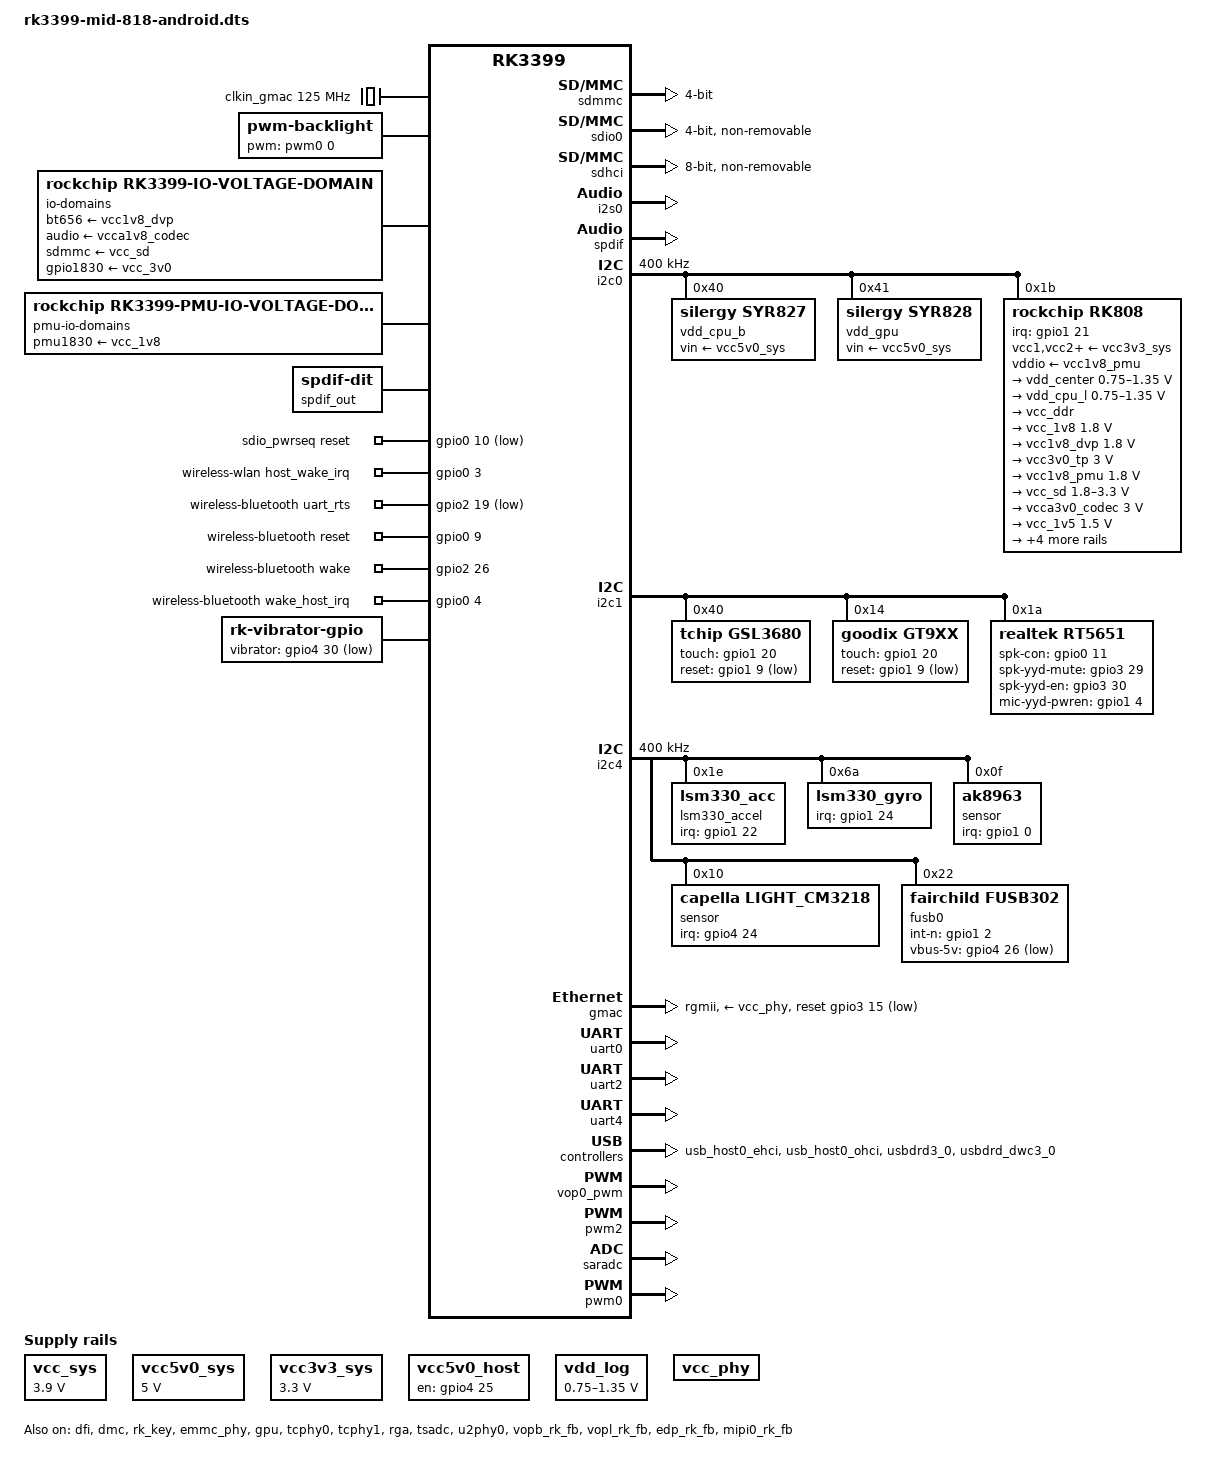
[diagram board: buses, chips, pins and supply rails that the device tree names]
/*
 * Copyright (c) 2016 Fuzhou Rockchip Electronics Co., Ltd
 *
 * This file is dual-licensed: you can use it either under the terms
 * of the GPL or the X11 license, at your option. Note that this dual
 * licensing only applies to this file, and not this project as a
 * whole.
 *
 *  a) This file is free software; you can redistribute it and/or
 *     modify it under the terms of the GNU General Public License as
 *     published by the Free Software Foundation; either version 2 of the
 *     License, or (at your option) any later version.
 *
 *     This file is distributed in the hope that it will be useful,
 *     but WITHOUT ANY WARRANTY; without even the implied warranty of
 *     MERCHANTABILITY or FITNESS FOR A PARTICULAR PURPOSE.  See the
 *     GNU General Public License for more details.
 *
 * Or, alternatively,
 *
 *  b) Permission is hereby granted, free of charge, to any person
 *     obtaining a copy of this software and associated documentation
 *     files (the "Software"), to deal in the Software without
 *     restriction, including without limitation the rights to use,
 *     copy, modify, merge, publish, distribute, sublicense, and/or
 *     sell copies of the Software, and to permit persons to whom the
 *     Software is furnished to do so, subject to the following
 *     conditions:
 *
 *     The above copyright notice and this permission notice shall be
 *     included in all copies or substantial portions of the Software.
 *
 *     THE SOFTWARE IS PROVIDED "AS IS", WITHOUT WARRANTY OF ANY KIND,
 *     EXPRESS OR IMPLIED, INCLUDING BUT NOT LIMITED TO THE WARRANTIES
 *     OF MERCHANTABILITY, FITNESS FOR A PARTICULAR PURPOSE AND
 *     NONINFRINGEMENT. IN NO EVENT SHALL THE AUTHORS OR COPYRIGHT
 *     HOLDERS BE LIABLE FOR ANY CLAIM, DAMAGES OR OTHER LIABILITY,
 *     WHETHER IN AN ACTION OF CONTRACT, TORT OR OTHERWISE, ARISING
 *     FROM, OUT OF OR IN CONNECTION WITH THE SOFTWARE OR THE USE OR
 *     OTHER DEALINGS IN THE SOFTWARE.
 */

/dts-v1/;

#include "rk3399.dtsi"
#include "rk3399-android.dtsi"
#include <dt-bindings/sensor-dev.h>
#include <dt-bindings/pwm/pwm.h>

/ {
	compatible = "rockchip,rk3399-mid", "rockchip,rk3399";

	hall_sensor: hall-mh248 {
		compatible = "hall-mh248";
		pinctrl-names = "default";
		pinctrl-0 = <&mh248_irq_gpio>;
		irq-gpio = <&gpio1 2 IRQ_TYPE_EDGE_BOTH>;
		hall-active = <1>;
		status = "disabled";
	};

	vcc_sys: vcc-sys {
		compatible = "regulator-fixed";
		regulator-name = "vcc_sys";
		regulator-always-on;
		regulator-boot-on;
		regulator-min-microvolt = <3900000>;
		regulator-max-microvolt = <3900000>;
	};

	vcc5v0_sys: vcc5v0-sys {
		compatible = "regulator-fixed";
		regulator-name = "vcc5v0_sys";
		regulator-always-on;
		regulator-boot-on;
		regulator-min-microvolt = <5000000>;
		regulator-max-microvolt = <5000000>;
	};
	
	vcc3v3_sys: vcc3v3-sys {
		compatible = "regulator-fixed";
		regulator-name = "vcc3v3_sys";
		regulator-always-on;
		regulator-boot-on;
		regulator-min-microvolt = <3300000>;
		regulator-max-microvolt = <3300000>;
	};

	vcc5v0_host: vcc5v0-host-regulator {
		compatible = "regulator-fixed";
		enable-active-high;
		gpio = <&gpio4 25 GPIO_ACTIVE_HIGH>;
		pinctrl-names = "default";
		pinctrl-0 = <&host_vbus_drv>;
		regulator-name = "vcc5v0_host";
	};

	vdd_log: vdd-log {
		compatible = "pwm-regulator";
		pwms = <&pwm2 0 25000 0>;
		rockchip,pwm_id= <2>;
		rockchip,pwm_voltage = <900000>;
		regulator-name = "vdd_log";
		regulator-min-microvolt = <750000>;
		regulator-max-microvolt = <1350000>;
		regulator-always-on;
		regulator-boot-on;
	};

	clkin_gmac: external-gmac-clock {
		compatible = "fixed-clock";
		clock-frequency = <125000000>;
		clock-output-names = "clkin_gmac";
		#clock-cells = <0>;
	};
	
	backlight: backlight {
		status = "okay";
		compatible = "pwm-backlight";
		pwms = <&pwm0 0 25000 0>;
		brightness-levels = <
			0   1   51  52  52  53  53  54
			54  55  55  56  56  57  57  58
			58  59  59  60  61  61  62  63
			63  64  65  65  66  67  67  68
			69  69  70  71  71  72  73  73
			74  75  75  76  77  77  78  79
			79  80  80  81  81  82  83  83
			84  85  86  86  87  88  89  89
			90  91  92  92  93  94  95  95
			96  97  98  98  99 100 101  101
			102 103 104 104 105 106 107 107
			108 109 110 110 111 112 113 113
			114 115 116 116 117 118 119 119
			120 121 122 122 123 124 125 125
			126 127 128 128 129 130 131 131
			132 133 134 134 135 136 137 137
			138 139 140 140 141 142 143 143
			144 145 146 146 147 148 149 149
			150 151 152 152 153 154 155 155
			156 157 158 158 159 160 161 161
			162 163 164 164 165 166 167 167
			168 169 170 170 171 172 173 173
			174 175 176 176 177 178 179 179
			180 181 182 182 183 184 185 185
			186 187 188 188 189 190 191 191
			216 217 218 218 219 220 221 221
			222 223 224 224 225 226 227 227
			228 229 230 230 231 232 233 233
			234 235 236 236 237 238 239 239
			240 241 242 242 243 244 245 245
			246 247 248 248 249 250 251 251
			252 253 254 254 255 255 255 255>;
		default-brightness-level = <200>;
		/*enable-gpios = <&gpio1 13 GPIO_ACTIVE_HIGH>;*/
	};

	vcc_phy: vcc-phy-regulator {
		compatible = "regulator-fixed";
		regulator-name = "vcc_phy";
		regulator-always-on;
		regulator-boot-on;
	};

	io-domains {
		compatible = "rockchip,rk3399-io-voltage-domain";
		rockchip,grf = <&grf>;

		bt656-supply = <&vcc1v8_dvp>;
		audio-supply = <&vcca1v8_codec>;
		sdmmc-supply = <&vcc_sd>;
		gpio1830-supply = <&vcc_3v0>;
	};

	pmu-io-domains {
		compatible = "rockchip,rk3399-pmu-io-voltage-domain";
		rockchip,grf = <&pmugrf>;

		pmu1830-supply = <&vcc_1v8>;
	};

	rt5651-sound {
		status = "okay";
		compatible = "simple-audio-card";
		simple-audio-card,format = "i2s";
		simple-audio-card,name = "realtek,rt5651-codec";
		simple-audio-card,mclk-fs = <256>;
		simple-audio-card,widgets =
			"Microphone", "Mic Jack",
			"Headphone", "Headphone Jack";
		simple-audio-card,routing =
			"Mic Jack", "MICBIAS1",
			"IN1P", "Mic Jack",
			"Headphone Jack", "HPOL",
			"Headphone Jack", "HPOR";
		simple-audio-card,cpu {
			sound-dai = <&i2s0>;
		};
		simple-audio-card,codec {
			sound-dai = <&rt5651>;
		};
	};
	
	spdif-sound {
		compatible = "simple-audio-card";
		simple-audio-card,name = "rockchip,spdif";
		simple-audio-card,cpu {
			sound-dai = <&spdif>;
		};
		simple-audio-card,codec {
			sound-dai = <&spdif_out>;
		};
	};

	spdif_out: spdif-out {
		compatible = "linux,spdif-dit";
		#sound-dai-cells = <0>;
	};

	sdio_pwrseq: sdio-pwrseq {
		compatible = "mmc-pwrseq-simple";
		clocks = <&rk808 1>;
		clock-names = "ext_clock";
		pinctrl-names = "default";
		pinctrl-0 = <&wifi_enable_h>;

		/*
		 * On the module itself this is one of these (depending
		 * on the actual card populated):
		 * - SDIO_RESET_L_WL_REG_ON
		 * - PDN (power down when low)
		 */
		reset-gpios = <&gpio0 10 GPIO_ACTIVE_LOW>; /* GPIO0_B2 */
	};

	wireless-wlan {
		compatible = "wlan-platdata";
		rockchip,grf = <&grf>;
		wifi_chip_type = "ap6356";
		sdio_vref = <1800>;
		WIFI,host_wake_irq = <&gpio0 3 GPIO_ACTIVE_HIGH>; /* GPIO0_a3 */
		status = "okay";
	};

	wireless-bluetooth {
		compatible = "bluetooth-platdata";
		clocks = <&rk808 1>;
		clock-names = "ext_clock";
		//wifi-bt-power-toggle;
		uart_rts_gpios = <&gpio2 19 GPIO_ACTIVE_LOW>; /* GPIO2_C3 */
		pinctrl-names = "default", "rts_gpio";
		pinctrl-0 = <&uart0_rts>;
		pinctrl-1 = <&uart0_gpios>;
		//BT,power_gpio  = <&gpio3 19 GPIO_ACTIVE_HIGH>; /* GPIOx_xx */
		BT,reset_gpio    = <&gpio0 9 GPIO_ACTIVE_HIGH>; /* GPIO0_B1 */
		BT,wake_gpio     = <&gpio2 26 GPIO_ACTIVE_HIGH>; /* GPIO2_D2 */
		BT,wake_host_irq = <&gpio0 4 GPIO_ACTIVE_HIGH>; /* GPIO0_A4 */
		status = "okay";
	};

	uboot-charge {
		compatible = "rockchip,uboot-charge";
		rockchip,uboot-charge-on = <0>;
		rockchip,android-charge-on = <1>;
	};

	vibrator {
		compatible = "rk-vibrator-gpio";
		vibrator-gpio = <&gpio4 30 GPIO_ACTIVE_LOW>;
		status = "okay";
	};
};

&dfi {
	status = "okay";
};

&dmc {
	status = "okay";
	center-supply = <&vdd_center>;
	upthreshold = <38>;
	downdifferential = <20>;
};

&dmc_opp_table {
	opp@300000000 {
		opp-hz = /bits/ 64 <300000000>;
		opp-microvolt = <900000>;
	};
	opp@400000000 {
		opp-hz = /bits/ 64 <400000000>;
		opp-microvolt = <900000>;
	};
	opp@528000000 {
		opp-hz = /bits/ 64 <528000000>;
		opp-microvolt = <900000>;
	};
	opp@600000000 {
		opp-hz = /bits/ 64 <600000000>;
		opp-microvolt = <900000>;
	};
	opp@666000000 {
		opp-hz = /bits/ 64 <666000000>;
		opp-microvolt = <900000>;
		opp-suspend;
	};
};

&cluster0_opp {
	opp@408000000 {
		opp-hz = /bits/ 64 <408000000>;
		opp-microvolt = <800000>;
		clock-latency-ns = <40000>;
	};
	opp@600000000 {
		opp-hz = /bits/ 64 <600000000>;
		opp-microvolt = <800000>;
	};
	opp@816000000 {
		opp-hz = /bits/ 64 <816000000>;
		opp-microvolt = <800000>;
	};
	opp@1008000000 {
		opp-hz = /bits/ 64 <1008000000>;
		opp-microvolt = <875000>;
	};
	opp@1200000000 {
		opp-hz = /bits/ 64 <1200000000>;
		opp-microvolt = <925000>;
	};
	opp@1416000000 {
		opp-hz = /bits/ 64 <1416000000>;
		opp-microvolt = <1050000>;
	};
	opp@1512000000 {
		opp-hz = /bits/ 64 <1512000000>;
		opp-microvolt = <1100000>;
		status="disabled";
	};
};

&cluster1_opp {
	opp@408000000 {
		opp-hz = /bits/ 64 <408000000>;
		opp-microvolt = <800000>;
		clock-latency-ns = <40000>;
	};
	opp@600000000 {
		opp-hz = /bits/ 64 <600000000>;
		opp-microvolt = <800000>;
	};
	opp@816000000 {
		opp-hz = /bits/ 64 <816000000>;
		opp-microvolt = <825000>;
	};
	opp@1008000000 {
		opp-hz = /bits/ 64 <1008000000>;
		opp-microvolt = <875000>;
	};
	opp@1200000000 {
		opp-hz = /bits/ 64 <1200000000>;
		opp-microvolt = <950000>;
	};
	opp@1416000000 {
		opp-hz = /bits/ 64 <1416000000>;
		opp-microvolt = <1025000>;
	};
	opp@1608000000 {
		opp-hz = /bits/ 64 <1608000000>;
		opp-microvolt = <1100000>;
	};
	opp@1800000000 {
		opp-hz = /bits/ 64 <1800000000>;
		opp-microvolt = <1175000>;
	};
	opp@1992000000 {
		opp-hz = /bits/ 64 <1992000000>;
		opp-microvolt = <1250000>;
	};
};

&CPU_COST_A72 {
	busy-cost-data = <
		210   129	/*  408MHz */
		308   184	/*  600MHz */
		419   246	/*  816MHz */
		518   335	/* 1008MHz */
		617   428	/* 1200MHz */
		728   573	/* 1416MHz */
		827   724	/* 1608MHz */
		925   900	/* 1800MHz */
		1024  1108	/* 1992MHz */
	>;
	idle-cost-data = <
	      15
	      15
	       0
	>;
};

&CPU_COST_A53 {
	busy-cost-data = <
		108    46	/*  408M */
		159    67	/*  600M */
		216    90	/*  816M */
		267    120	/* 1008M */
		318    153	/* 1200M */
		375    198	/* 1416M */
		401    222	/* 1512M */
	>;
	idle-cost-data = <
	      6
	      6
	      0
	>;
};

&CLUSTER_COST_A72 {
	busy-cost-data = <
		210   129	/*  408MHz */
		308   184	/*  600MHz */
		419   246	/*  816MHz */
		518   335	/* 1008MHz */
		617   428	/* 1200MHz */
		728   573	/* 1416MHz */
		827   724	/* 1608MHz */
		925   900	/* 1800MHz */
		1024  1108	/* 1992MHz */
	>;
	idle-cost-data = <
		 65
		 65
		 65
	>;
};

&CLUSTER_COST_A53 {
	busy-cost-data = <
		108    46	/*  408M */
		159    67	/*  600M */
		216    90	/*  816M */
		267    120	/* 1008M */
		318    153	/* 1200M */
		375    198	/* 1416M */
		401    222	/* 1512M */
	>;
	idle-cost-data = <
		56
		56
		56
	>;
};

&gpu_opp_table {
	compatible = "operating-points-v2";
	opp-shared;
	opp@200000000 {
		opp-hz = /bits/ 64 <200000000>;
		opp-microvolt = <825000>;
	};
	opp@300000000 {
		opp-hz = /bits/ 64 <300000000>;
		opp-microvolt = <850000>;
	};
	opp@400000000 {
		opp-hz = /bits/ 64 <400000000>;
		opp-microvolt = <875000>;
	};
	opp@500000000 {
		opp-hz = /bits/ 64 <500000000>;
		opp-microvolt = <950000>;
	};
	opp@600000000 {
		opp-hz = /bits/ 64 <600000000>;
		opp-microvolt = <1025000>;
	};
	opp@800000000 {
		opp-hz = /bits/ 64 <800000000>;
		opp-microvolt = <1125000>;
	};
};

&rk_key {
	compatible = "rockchip,key";
	status = "okay";

	io-channels = <&saradc 1>;

		power-key {
			gpios = <&gpio0 5 GPIO_ACTIVE_LOW>;
			linux,code = <116>;
			label = "power";
			gpio-key,wakeup;
		};

		vol-up-key {
			linux,code = <115>;
			label = "volume up";
			rockchip,adc_value = <1>;
		};

		vol-down-key {
			linux,code = <114>;
			label = "volume down";
			rockchip,adc_value = <170>;
		};

		back-key {
			linux,code = <158>;
			label = "back";
			rockchip,adc_value = <560>;
		};

		menu-key {
			linux,code = <139>;
			label = "menu";
			rockchip,adc_value = <750>;
		};
};

&sdmmc {
	clock-frequency = <50000000>;
	clock-freq-min-max = <400000 150000000>;
	supports-sd;
	bus-width = <4>;
	cap-mmc-highspeed;
	cap-sd-highspeed;
	disable-wp;
	num-slots = <1>;
	sd-uhs-sdr104;
	vqmmc-supply = <&vcc_sd>;
	pinctrl-names = "default";
	pinctrl-0 = <&sdmmc_clk &sdmmc_cmd &sdmmc_cd &sdmmc_bus4>;
	status = "okay";
};

&sdio0 {
	clock-frequency = <150000000>;
	clock-freq-min-max = <200000 150000000>;
	supports-sdio;
	bus-width = <4>;
	disable-wp;
	cap-sd-highspeed;
	cap-sdio-irq;
	keep-power-in-suspend;
	mmc-pwrseq = <&sdio_pwrseq>;
	non-removable;
	num-slots = <1>;
	pinctrl-names = "default";
	pinctrl-0 = <&sdio0_bus4 &sdio0_cmd &sdio0_clk>;
	sd-uhs-sdr104;
	status = "okay";
};

&emmc_phy {
	status = "okay";
};

&sdhci {
	bus-width = <8>;
	mmc-hs400-1_8v;
	supports-emmc;
	non-removable;
	keep-power-in-suspend;
	mmc-hs400-enhanced-strobe;
	status = "okay";
};

&i2s0 {
	status = "okay";
	rockchip,i2s-broken-burst-len;
	rockchip,playback-channels = <8>;
	rockchip,capture-channels = <8>;
	#sound-dai-cells = <0>;
};

&i2s2 {
	#sound-dai-cells = <0>;
};

&spdif {
	status = "okay";
	#sound-dai-cells = <0>;
};

&i2c0 {
	status = "okay";
	i2c-scl-rising-time-ns = <168>;
	i2c-scl-falling-time-ns = <4>;
	clock-frequency = <400000>;

	vdd_cpu_b: syr827@40 {
		compatible = "silergy,syr827";
		reg = <0x40>;
		vin-supply = <&vcc5v0_sys>;
		regulator-compatible = "fan53555-reg";
		regulator-name = "vdd_cpu_b";
		regulator-min-microvolt = <712500>;
		regulator-max-microvolt = <1500000>;
		regulator-ramp-delay = <1000>;
		fcs,suspend-voltage-selector = <1>;
		regulator-always-on;
		regulator-boot-on;
		regulator-initial-state = <3>;
			regulator-state-mem {
			regulator-off-in-suspend;
		};
	};

	vdd_gpu: syr828@41 {
		compatible = "silergy,syr828";
		reg = <0x41>;
		vin-supply = <&vcc5v0_sys>;
		regulator-compatible = "fan53555-reg";
		regulator-name = "vdd_gpu";
		regulator-min-microvolt = <712500>;
		regulator-max-microvolt = <1500000>;
		regulator-ramp-delay = <1000>;
		fcs,suspend-voltage-selector = <1>;
		regulator-always-on;
		regulator-boot-on;
		regulator-initial-state = <3>;
			regulator-state-mem {
			regulator-off-in-suspend;
		};
	};

	rk808: pmic@1b {
		compatible = "rockchip,rk808";
		reg = <0x1b>;
		interrupt-parent = <&gpio1>;
		interrupts = <21 IRQ_TYPE_LEVEL_LOW>;
		pinctrl-names = "default";
		pinctrl-0 = <&pmic_int_l &pmic_dvs2>;
		rockchip,system-power-controller;
		wakeup-source;
		#clock-cells = <1>;
		clock-output-names = "xin32k", "rk808-clkout2";

		vcc1-supply = <&vcc3v3_sys>;
		vcc2-supply = <&vcc3v3_sys>;
		vcc3-supply = <&vcc3v3_sys>;
		vcc4-supply = <&vcc3v3_sys>;
		vcc6-supply = <&vcc3v3_sys>;
		vcc7-supply = <&vcc3v3_sys>;
		vcc8-supply = <&vcc3v3_sys>;
		vcc9-supply = <&vcc3v3_sys>;
		vcc10-supply = <&vcc3v3_sys>;
		vcc11-supply = <&vcc3v3_sys>;
		vcc12-supply = <&vcc3v3_sys>;
		vddio-supply = <&vcc1v8_pmu>;

		regulators {
			vdd_center: DCDC_REG1 {
				regulator-always-on;
				regulator-boot-on;
				regulator-min-microvolt = <750000>;
				regulator-max-microvolt = <1350000>;
				regulator-ramp-delay = <6001>;
				regulator-name = "vdd_center";
				regulator-state-mem {
					regulator-off-in-suspend;
				};
			};

			vdd_cpu_l: DCDC_REG2 {
				regulator-always-on;
				regulator-boot-on;
				regulator-min-microvolt = <750000>;
				regulator-max-microvolt = <1350000>;
				regulator-ramp-delay = <6001>;
				regulator-name = "vdd_cpu_l";
				regulator-state-mem {
					regulator-off-in-suspend;
				};
			};

			vcc_ddr: DCDC_REG3 {
				regulator-always-on;
				regulator-boot-on;
				regulator-name = "vcc_ddr";
				regulator-state-mem {
					regulator-on-in-suspend;
				};
			};

			vcc_1v8: DCDC_REG4 {
				regulator-always-on;
				regulator-boot-on;
				regulator-min-microvolt = <1800000>;
				regulator-max-microvolt = <1800000>;
				regulator-name = "vcc_1v8";
				regulator-state-mem {
					regulator-on-in-suspend;
					regulator-suspend-microvolt = <1800000>;
				};
			};

			vcc1v8_dvp: LDO_REG1 {
				regulator-always-on;
				regulator-boot-on;
				regulator-min-microvolt = <1800000>;
				regulator-max-microvolt = <1800000>;
				regulator-name = "vcc1v8_dvp";
				regulator-state-mem {
					regulator-off-in-suspend;
				};
			};

			vcc3v0_tp: LDO_REG2 {
				regulator-always-on;
				regulator-boot-on;
				regulator-min-microvolt = <3000000>;
				regulator-max-microvolt = <3000000>;
				regulator-name = "vcc3v0_tp";
				regulator-state-mem {
					regulator-off-in-suspend;
				};
			};

			vcc1v8_pmu: LDO_REG3 {
				regulator-always-on;
				regulator-boot-on;
				regulator-min-microvolt = <1800000>;
				regulator-max-microvolt = <1800000>;
				regulator-name = "vcc1v8_pmu";
				regulator-state-mem {
					regulator-on-in-suspend;
					regulator-suspend-microvolt = <1800000>;
				};
			};

			vcc_sd: LDO_REG4 {
				regulator-always-on;
				regulator-boot-on;
				regulator-min-microvolt = <1800000>;
				regulator-max-microvolt = <3300000>;
				regulator-name = "vcc_sd";
				regulator-state-mem {
					regulator-on-in-suspend;
					regulator-suspend-microvolt = <3300000>;
				};
			};

			vcca3v0_codec: LDO_REG5 {
				regulator-always-on;
				regulator-boot-on;
				regulator-min-microvolt = <3000000>;
				regulator-max-microvolt = <3000000>;
				regulator-name = "vcca3v0_codec";
				regulator-state-mem {
					regulator-off-in-suspend;
				};
			};

			vcc_1v5: LDO_REG6 {
				regulator-always-on;
				regulator-boot-on;
				regulator-min-microvolt = <1500000>;
				regulator-max-microvolt = <1500000>;
				regulator-name = "vcc_1v5";
				regulator-state-mem {
					regulator-on-in-suspend;
					regulator-suspend-microvolt = <1500000>;
				};
			};

			vcca1v8_codec: LDO_REG7 {
				regulator-always-on;
				regulator-boot-on;
				regulator-min-microvolt = <1800000>;
				regulator-max-microvolt = <1800000>;
				regulator-name = "vcca1v8_codec";
				regulator-state-mem {
					regulator-off-in-suspend;
				};
			};

			vcc_3v0: LDO_REG8 {
				regulator-always-on;
				regulator-boot-on;
				regulator-min-microvolt = <3000000>;
				regulator-max-microvolt = <3000000>;
				regulator-name = "vcc_3v0";
				regulator-state-mem {
					regulator-on-in-suspend;
					regulator-suspend-microvolt = <3000000>;
				};
			};

			vcc3v3_s3: SWITCH_REG1 {
				regulator-always-on;
				regulator-boot-on;
				regulator-name = "vcc3v3_s3";
				regulator-state-mem {
					regulator-off-in-suspend;
				};
			};

			vcc3v3_s0: SWITCH_REG2 {
				regulator-always-on;
				regulator-boot-on;
				regulator-name = "vcc3v3_s0";
				regulator-state-mem {
					regulator-off-in-suspend;
				};
			};
		};
	};
};

&i2c1 {
	status = "okay";
	i2c-scl-rising-time-ns = <140>;
	i2c-scl-falling-time-ns = <30>;


	gsl3680@40 { 
        compatible = "tchip,gsl3680";
        reg = <0x40>;
        touch-gpio = <&gpio1 20 IRQ_TYPE_EDGE_RISING>;
        reset-gpio = <&gpio1 9 GPIO_ACTIVE_LOW>;
        max-x = <1024>;
        max-y = <600>;
    }; 
    
   gt9xx: gt9xx@14 {
		compatible = "goodix,gt9xx";
		reg = <0x14>;
		touch-gpio = <&gpio1 20 IRQ_TYPE_EDGE_RISING>;
		reset-gpio = <&gpio1 9 GPIO_ACTIVE_LOW>;
		max-x = <2560>;
		max-y = <1600>;
		tp-size = <101>;
	};
	
  rt5651: rt5651@1a {
		#sound-dai-cells = <0>;
		compatible = "realtek,rt5651";
		reg = <0x1a>;
		clocks = <&cru SCLK_I2S_8CH_OUT>;
		clock-names = "mclk";
		spk-con-gpio = <&gpio0 11 GPIO_ACTIVE_HIGH>;
		spk-yyd-mute-gpio = <&gpio3 29 GPIO_ACTIVE_HIGH>;
		spk-yyd-en-gpio = <&gpio3 30 GPIO_ACTIVE_HIGH>;
		mic-yyd-pwren-gpio = <&gpio1 4 GPIO_ACTIVE_HIGH>;
	};	
};

&i2c4 {
	status = "okay";
	i2c-scl-rising-time-ns = <600>;
	i2c-scl-falling-time-ns = <20>;
	clock-frequency = <400000>;

	lsm330_accel@1e {
		status = "okay";
		compatible = "lsm330_acc";
		pinctrl-names = "default";
		pinctrl-0 = <&lsm330a_irq_gpio>;
		reg = <0x1e>;
		irq-gpio = <&gpio1 22 IRQ_TYPE_EDGE_RISING>;
		type = <SENSOR_TYPE_ACCEL>;
		irq_enable = <1>;
		poll_delay_ms = <30>;
		layout = <4>;
	};

	lsm330_gyro@6a {
		status = "okay";
		compatible = "lsm330_gyro";
		pinctrl-names = "default";
		pinctrl-0 = <&lsm330g_irq_gpio>;
		reg = <0x6a>;
		irq-gpio = <&gpio1 24 IRQ_TYPE_EDGE_RISING>;
		type = <SENSOR_TYPE_GYROSCOPE>;
		irq_enable = <0>;
		poll_delay_ms = <30>;
	};
	
	sensor@0f {
		status = "okay";
		compatible = "ak8963";
		pinctrl-names = "default";
		pinctrl-0 = <&ak8963_irq_gpio>;
		reg = <0x0f>;
		type = <SENSOR_TYPE_COMPASS>;
		irq-gpio = <&gpio1 0 IRQ_TYPE_EDGE_RISING>;
		irq_enable = <0>;
		poll_delay_ms = <30>;
		layout = <3>;
	};

	sensor@10 {
		status = "okay";
		compatible = "capella,light_cm3218";
		pinctrl-names = "default";
		pinctrl-0 = <&cm3218_irq_gpio>;
		reg = <0x10>;
		type = <SENSOR_TYPE_LIGHT>;
		irq-gpio = <&gpio4 24 IRQ_TYPE_EDGE_FALLING>;
		irq_enable = <1>;
		poll_delay_ms = <30>;
	};
	
		fusb0: fusb30x@22 {
		compatible = "fairchild,fusb302";
		reg = <0x22>;
		pinctrl-names = "default";
		pinctrl-0 = <&fusb0_int>;
		int-n-gpios = <&gpio1 2 GPIO_ACTIVE_HIGH>;
		vbus-5v-gpios = <&gpio4 26 GPIO_ACTIVE_LOW>;
		status = "okay";
	};
	
};

&i2c5 {
	status = "disabled";
	i2c-scl-rising-time-ns = <150>;
	i2c-scl-falling-time-ns = <30>;
	clock-frequency = <400000>;

};

&gmac {
	phy-supply = <&vcc_phy>;
	phy-mode = "rgmii";
	clock_in_out = "input";
	snps,reset-gpio = <&gpio3 15 GPIO_ACTIVE_LOW>;
	snps,reset-active-low;
	snps,reset-delays-us = <0 10000 50000>;
	assigned-clocks = <&cru SCLK_RMII_SRC>;
	assigned-clock-parents = <&clkin_gmac>;
	pinctrl-names = "default";
	pinctrl-0 = <&rgmii_pins>;
	tx_delay = <0x28>;
	rx_delay = <0x11>;
	status = "okay";
};
/*
&isp0 {
	status = "okay";
};

&isp1 {
	status = "okay";
};
*/
&cpu_l0 {
	cpu-supply = <&vdd_cpu_l>;
};

&cpu_l1 {
	cpu-supply = <&vdd_cpu_l>;
};

&cpu_l2 {
	cpu-supply = <&vdd_cpu_l>;
};

&cpu_l3 {
	cpu-supply = <&vdd_cpu_l>;
};

&cpu_b0 {
	cpu-supply = <&vdd_cpu_b>;
};

&cpu_b1 {
	cpu-supply = <&vdd_cpu_b>;
};

&gpu {
	status = "okay";
	mali-supply = <&vdd_gpu>;
};

&rt5651 {
	status = "okay";
};

&backlight {
	status = "okay";
};

&tcphy0 {
	extcon = <&fusb0>;
	status = "okay";
};

&tcphy1 {
	status = "okay";
};

&rga {
	status = "okay";
};

&spi1 {
	status = "disabled";
	max-freq = <50000000>;
	mpu6500@0 {
		status = "disabled";
		compatible = "inv-spi,mpu6500";
		pinctrl-names = "default";
		pinctrl-0 = <&mpu6500_irq_gpio>;
		irq-gpio = <&gpio2 27 IRQ_TYPE_EDGE_RISING>;
		reg = <0>;
		spi-max-frequency = <1000000>;
		spi-cpha;
		spi-cpol;
		mpu-int_config = <0x00>;
		mpu-level_shifter = <0>;
		mpu-orientation = <1 0 0 0 1 0 0 0 1>;
		orientation-x= <1>;
		orientation-y= <0>;
		orientation-z= <1>;
		support-hw-poweroff = <1>;
		mpu-debug = <1>;
	};
};

&tcphy0 {
	extcon = <&fusb0>;
	status = "okay";
};

&tsadc {
	rockchip,hw-tshut-mode = <1>; /* tshut mode 0:CRU 1:GPIO */
	rockchip,hw-tshut-polarity = <1>; /* tshut polarity 0:LOW 1:HIGH */
	status = "okay";
};

&u2phy0 {
	status = "okay";
	extcon = <&fusb0>;

	u2phy0_otg: otg-port {
		status = "okay";
	};

	u2phy0_host: host-port {
		phy-supply = <&vcc5v0_host>;
		status = "okay";
	};
};

&uart0 {
	pinctrl-names = "default";
	pinctrl-0 = <&uart0_xfer &uart0_cts>;
	status = "okay";
};

&uart2 {
	status = "okay";
};

&uart4 {
       status = "okay";
};

&usb_host0_ehci {
	status = "okay";
};

&usb_host0_ohci {
	status = "okay";
};

&usbdrd3_0 {
	extcon = <&fusb0>;
	status = "okay";
};

&usbdrd_dwc3_0 {
	status = "okay";
};

&vop0_pwm {
	assigned-clocks = <&cru SCLK_VOP0_PWM>;
	assigned-clock-rates = <50000000>;
	status = "okay";
};

&pwm2 {
	status = "okay";
};

&saradc {
	status = "okay";
};

&pinctrl {
	sdio-pwrseq {
		wifi_enable_h: wifi-enable-h {
			rockchip,pins = <0 10 RK_FUNC_GPIO &pcfg_pull_none>;
		};
	};

	wireless-bluetooth {
		uart0_gpios: uart0-gpios {
			rockchip,pins = <2 19 RK_FUNC_GPIO &pcfg_pull_none>;
		};
	};

	lcd-pin {
		lcd_en_pin: led-en-pin {
			rockchip,pins = <1 13 RK_FUNC_GPIO &pcfg_pull_up>;
		};
		lcd_cs_pin: led-cs-pin {
			rockchip,pins = <4 29 RK_FUNC_GPIO &pcfg_pull_up>;
		};
		lcd_rst_pin: led-rst-pin {
			rockchip,pins = <4 30 RK_FUNC_GPIO &pcfg_pull_up>;
		};
	};
	
	pmic {
		pmic_int_l: pmic-int-l {
			rockchip,pins =
				<1 21 RK_FUNC_GPIO &pcfg_pull_up>;
		};

		pmic_dvs2: pmic-dvs2 {
			rockchip,pins =
				<1 18 RK_FUNC_GPIO &pcfg_pull_down>;
		};
		vsel1_gpio: vsel1-gpio {
			rockchip,pins =
				<1 17 RK_FUNC_GPIO &pcfg_pull_down>;
		};
		vsel2_gpio: vsel2-gpio {
			rockchip,pins =
				<1 14 RK_FUNC_GPIO &pcfg_pull_down>;
		};
	};

	hallsensor {
		mh248_irq_gpio: mh248-irq-gpio {
			rockchip,pins = <1 2 RK_FUNC_GPIO &pcfg_pull_none>;
		};
	};

	headphone {
		hp_det: hp-det {
			rockchip,pins = <4 28 RK_FUNC_GPIO &pcfg_pull_up>;
		};
	};

	lcdpwr-enable {
		lcdpwr_enable_h: lcdpwr-enable-h {
			rockchip,pins = <3 8 RK_FUNC_GPIO &pcfg_pull_up>;
		};
	};

	lsm330_a {
		lsm330a_irq_gpio: lsm330a-irq-gpio {
			rockchip,pins = <1 22 RK_FUNC_GPIO &pcfg_pull_none>;
		};
	};

	lsm330_g {
		lsm330g_irq_gpio: lsm330g-irq-gpio {
			rockchip,pins = <1 24 RK_FUNC_GPIO &pcfg_pull_none>;
		};
	};

	mpu6500 {
		mpu6500_irq_gpio: mpu6500-irq-gpio {
			rockchip,pins = <2 27 RK_FUNC_GPIO &pcfg_pull_none>;
		};
	};

	ak8963 {
		ak8963_irq_gpio: ak8963-irq-gpio {
			rockchip,pins = <1 0 RK_FUNC_GPIO &pcfg_pull_none>;
		};
	};

	cm3218 {
		cm3218_irq_gpio: cm3218-irq-gpio {
			rockchip,pins = <4 24 RK_FUNC_GPIO &pcfg_pull_up>;
		};
	};

	usb2 {
		host_vbus_drv: host-vbus-drv {
			rockchip,pins =
				<4 25 RK_FUNC_GPIO &pcfg_pull_none>;
		};
	};

		fusb30x {
		fusb0_int: fusb0-int {
			rockchip,pins =
				<1 2 RK_FUNC_GPIO &pcfg_pull_up>,
				<4 26 RK_FUNC_GPIO &pcfg_pull_up>;
		};
	};
};

&rk_screen {
	assigned-clocks = <&cru PLL_VPLL>;
	assigned-clock-rates = <245000000>;
	/*#include "lcd-mipi-7inch-wy070ml.dtsi"*/
	/* #include "lcd-CEC133-IFAD.dtsi" */
	#include "lcd-mipi-8inch-H080IVl.dtsi"
};

&vopb_rk_fb {
	status = "okay";
	rockchip,cabc_mode = <1>;
	power_ctr: power_ctr {
		rockchip,debug = <0>;

			lcd_rst: lcd-rst {
			rockchip,power_type = <GPIO>;
			pinctrl-names = "default";
			pinctrl-0 = <&lcd_rst_pin>;
			gpios = <&gpio4 30 GPIO_ACTIVE_HIGH>;
			rockchip,delay = <40>;
		};

		lcd_en: lcd-en {
			rockchip,power_type = <GPIO>;
			pinctrl-names = "default";
			pinctrl-0 = <&lcd_en_pin>;
			gpios = <&gpio1 13 GPIO_ACTIVE_HIGH>;
			rockchip,delay = <40>;
		};

		lcd_cs: lcd-cs {
			rockchip,power_type = <GPIO>;
			pinctrl-names = "default";
			pinctrl-0 = <&lcd_cs_pin>;
			gpios = <&gpio4 29 GPIO_ACTIVE_HIGH>;
			rockchip,delay = <40>;
		};
	};
};

&vopl_rk_fb {
	status = "okay";
};

&edp_rk_fb {
	status = "okay";
};
&pwm0 {
	status = "okay";
};
&mipi0_rk_fb {
       status = "okay";
};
